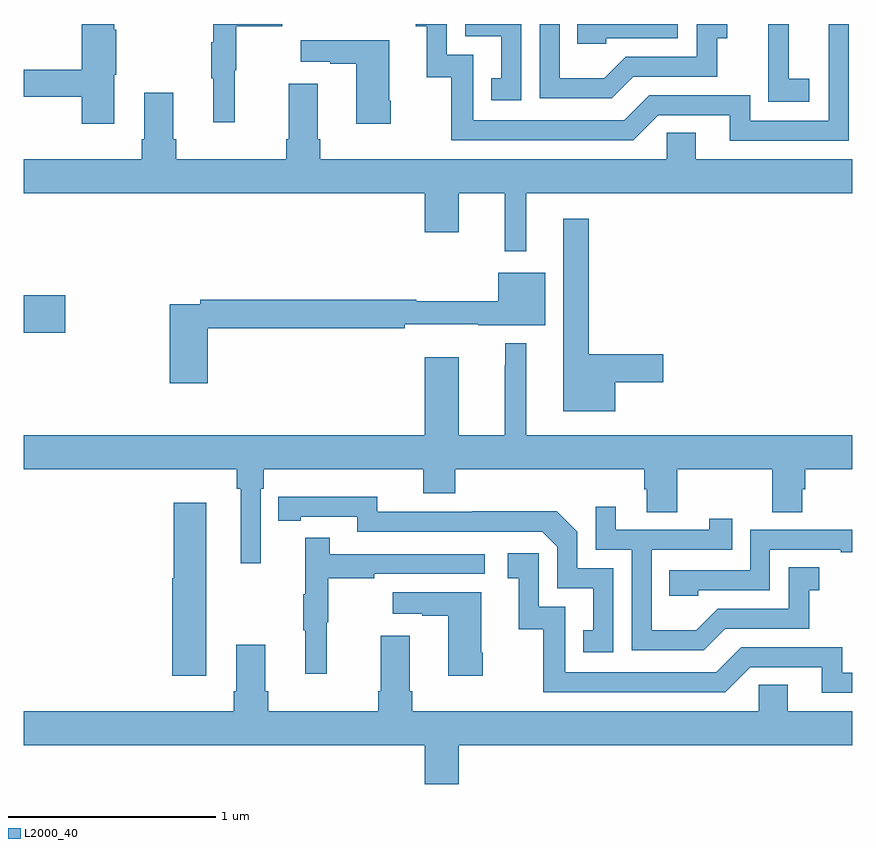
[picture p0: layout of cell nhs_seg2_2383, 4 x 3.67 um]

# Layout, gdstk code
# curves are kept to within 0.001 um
import gdstk
lib = gdstk.Library(unit=1e-6, precision=1e-09)
def R(c, l, rs):  # rectangles x0, y0, x1, y1
    for r in rs: c.add(gdstk.rectangle(r[:2], r[2:], *l))
def P(c, l, *ps):  # polygons
    for p in ps: c.add(gdstk.Polygon(p, *l))
L2000_40 = (2000, 40)

nhs_seg2_2383 = lib.new_cell('nhs_seg2_2383')
R(nhs_seg2_2383, L2000_40, [(235,632.309,235.201,632.492)])
P(nhs_seg2_2383, L2000_40, [(238.983,633.8),(238.887,633.8),(238.887,633.333),(238.506,633.333),(238.506,633.456),(238.02,633.456),(237.9,633.336),(237.171,633.336),(237.171,633.651),(237.042,633.651),(237.042,633.8),(236.892,633.8),(236.892,633.789),(236.945,633.789),(236.945,633.543),(237.063,633.543),(237.063,633.24),(237.942,633.24),(238.062,633.36),(238.409,633.36),(238.409,633.237),(238.983,633.237)],
  [(238.792,633.535),(238.694,633.535),(238.694,633.764),(238.692,633.764),(238.692,633.8),(238.595,633.8),(238.595,633.631),(238.594,633.631),(238.594,633.425),(238.792,633.425)],
  [(237.813,633.732),(238.158,633.732),(238.158,633.8),(237.673,633.8),(237.673,633.705),(237.813,633.705)],
  [(235.438,633.555),(235.446,633.555),(235.446,633.773),(235.438,633.773),(235.438,633.8),(235.28,633.8),(235.28,633.578),(235,633.578),(235,633.45),(235.28,633.45),(235.28,633.318),(235.438,633.318)],
  [(236.018,633.576),(236.026,633.576),(236.026,633.79),(236.249,633.79),(236.249,633.8),(235.916,633.8),(235.916,633.713),(235.905,633.713),(235.905,633.539),(235.916,633.539),(235.916,633.327),(236.018,633.327)],
  [(237.943,633.546),(238.347,633.546),(238.347,633.731),(238.396,633.731),(238.396,633.8),(238.248,633.8),(238.248,633.642),(237.906,633.642),(237.802,633.538),(237.588,633.538),(237.588,633.8),(237.492,633.8),(237.492,633.441),(237.838,633.441)],
  [(237.402,633.8),(237.132,633.8),(237.132,633.741),(237.305,633.741),(237.305,633.537),(237.256,633.537),(237.256,633.432),(237.402,633.432)],
  [(236.772,633.43),(236.764,633.43),(236.764,633.721),(236.337,633.721),(236.337,633.617),(236.48,633.617),(236.48,633.607),(236.606,633.607),(236.606,633.318),(236.772,633.318)],
  [(237.427,632.984),(239,632.984),(239,633.148),(238.243,633.148),(238.243,633.275),(238.104,633.275),(238.104,633.148),(236.432,633.148),(236.432,633.244),(236.419,633.244),(236.419,633.511),(236.279,633.511),(236.279,633.244),(236.267,633.244),(236.267,633.148),(235.736,633.148),(235.736,633.244),(235.723,633.244),(235.723,633.469),(235.583,633.469),(235.583,633.244),(235.571,633.244),(235.571,633.148),(235,633.148),(235,632.984),(236.936,632.984),(236.936,632.796),(237.1,632.796),(237.1,632.984),(237.323,632.984),(237.323,632.703),(237.427,632.703)],
  [(237.856,632.072),(238.087,632.072),(238.087,632.207),(237.727,632.207),(237.727,632.86),(237.605,632.86),(237.605,631.931),(237.856,631.931)],
  [(235.889,632.332),(236.84,632.332),(236.84,632.351),(237.194,632.351),(237.194,632.345),(237.517,632.345),(237.517,632.599),(237.29,632.599),(237.29,632.461),(236.894,632.461),(236.894,632.468),(235.852,632.468),(235.852,632.448),(235.706,632.448),(235.706,632.067),(235.889,632.067)],
  [(236.145,631.556),(236.159,631.556),(236.159,631.652),(236.93,631.652),(236.93,631.535),(237.083,631.535),(237.083,631.652),(237.995,631.652),(237.995,631.554),(238.007,631.554),(238.007,631.444),(238.155,631.444),(238.155,631.652),(238.612,631.652),(238.612,631.444),(238.759,631.444),(238.759,631.554),(238.772,631.554),(238.772,631.652),(239,631.652),(239,631.816),(237.427,631.816),(237.427,632.26),(237.325,632.26),(237.325,632.153),(237.323,632.153),(237.323,631.816),(237.1,631.816),(237.1,632.191),(236.936,632.191),(236.936,631.816),(235,631.816),(235,631.652),(236.029,631.652),(236.029,631.556),(236.048,631.556),(236.048,631.197),(236.145,631.197)],
  [(237.846,631.173),(237.672,631.173),(237.672,631.35),(237.574,631.448),(237.166,631.448),(237.166,631.446),(236.706,631.446),(236.706,631.519),(236.23,631.518),(236.23,631.402),(236.338,631.402),(236.338,631.422),(236.61,631.422),(236.61,631.35),(237.504,631.35),(237.576,631.278),(237.576,631.077),(237.749,631.077),(237.749,630.873),(237.7,630.873),(237.7,630.768),(237.846,630.768)],
  [(235.882,631.489),(235.724,631.489),(235.724,631.125),(235.718,631.125),(235.718,630.654),(235.882,630.654)],
  [(238.387,630.882),(238.791,630.882),(238.791,631.067),(238.84,631.067),(238.84,631.177),(238.692,631.177),(238.692,630.978),(238.35,630.978),(238.246,630.874),(238.032,630.874),(238.032,631.263),(238.421,631.263),(238.421,631.411),(238.31,631.411),(238.31,631.359),(237.859,631.359),(237.859,631.471),(237.762,631.471),(237.762,631.263),(237.936,631.263),(237.936,630.777),(238.282,630.777)],
  [(238.257,631.068),(238.602,631.068),(238.602,631.263),(238.943,631.263),(238.943,631.251),(239,631.251),(239,631.359),(238.506,631.359),(238.506,631.164),(238.117,631.164),(238.117,631.041),(238.257,631.041)],
  [(236.462,630.912),(236.47,630.912),(236.47,631.126),(236.693,631.126),(236.693,631.146),(237.226,631.146),(237.226,631.242),(236.477,631.242),(236.477,631.321),(236.36,631.321),(236.36,631.049),(236.349,631.049),(236.349,630.875),(236.36,630.875),(236.36,630.663),(236.462,630.663)],
  [(239,630.669),(238.95,630.669),(238.95,630.792),(238.464,630.792),(238.344,630.672),(237.615,630.672),(237.615,630.987),(237.486,630.987),(237.486,631.246),(237.336,631.246),(237.336,631.125),(237.389,631.125),(237.389,630.879),(237.507,630.879),(237.507,630.576),(238.386,630.576),(238.506,630.696),(238.853,630.696),(238.853,630.573),(239,630.573)],
  [(237.216,630.766),(237.208,630.766),(237.208,631.057),(236.781,631.057),(236.781,630.953),(236.924,630.953),(236.924,630.943),(237.05,630.943),(237.05,630.654),(237.216,630.654)],
  [(237.1,630.32),(239,630.32),(239,630.484),(238.687,630.484),(238.687,630.611),(238.548,630.611),(238.548,630.484),(236.876,630.484),(236.876,630.58),(236.863,630.58),(236.863,630.847),(236.723,630.847),(236.723,630.58),(236.711,630.58),(236.711,630.484),(236.18,630.484),(236.18,630.58),(236.167,630.58),(236.167,630.805),(236.027,630.805),(236.027,630.58),(236.015,630.58),(236.015,630.484),(235,630.484),(235,630.32),(236.936,630.32),(236.936,630.132),(237.1,630.132)])

lib.write_gds('nhs_seg2_2383.gds')
